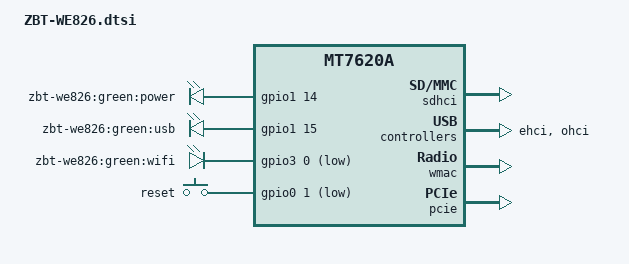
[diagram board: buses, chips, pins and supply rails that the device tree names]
#include "mt7620a.dtsi"

#include <dt-bindings/gpio/gpio.h>
#include <dt-bindings/input/input.h>

/ {
	compatible = "zbtlink,zbt-we826", "ralink,mt7620a-soc";

	chosen {
		bootargs = "console=ttyS0,115200";
	};

	gpio-leds {
		compatible = "gpio-leds";
		power {
			label = "zbt-we826:green:power";
			gpios = <&gpio1 14 GPIO_ACTIVE_HIGH>;
		};
		usb {
			label = "zbt-we826:green:usb";
			gpios = <&gpio1 15 GPIO_ACTIVE_HIGH>;
		};
		air {
			label = "zbt-we826:green:wifi";
			gpios = <&gpio3 0 GPIO_ACTIVE_LOW>;
		};
	};

	gpio-keys-polled {
		compatible = "gpio-keys-polled";
		#address-cells = <1>;
		#size-cells = <0>;
		poll-interval = <20>;
		reset {
			label = "reset";
			gpios = <&gpio0 1 GPIO_ACTIVE_LOW>;
			linux,code = <KEY_RESTART>;
		};
	};
};

&gpio0 {
	status = "okay";
};

&gpio1 {
	status = "okay";
};

&gpio3 {
	status = "okay";
};

&sdhci {
	status = "okay";
};

&ehci {
	status = "okay";
};

&ohci {
	status = "okay";
};

&ethernet {
	mtd-mac-address = <&factory 0x4>;
	mediatek,portmap = "wllll";
};

&wmac {
	ralink,mtd-eeprom = <&factory 0>;
};

&pinctrl {
	state_default: pinctrl0 {
		default {
			ralink,group = "i2c", "uartf", "wled", "spi refclk", "pa";
			ralink,function = "gpio";
		};
	};
};

&pcie {
	status = "okay";
};
